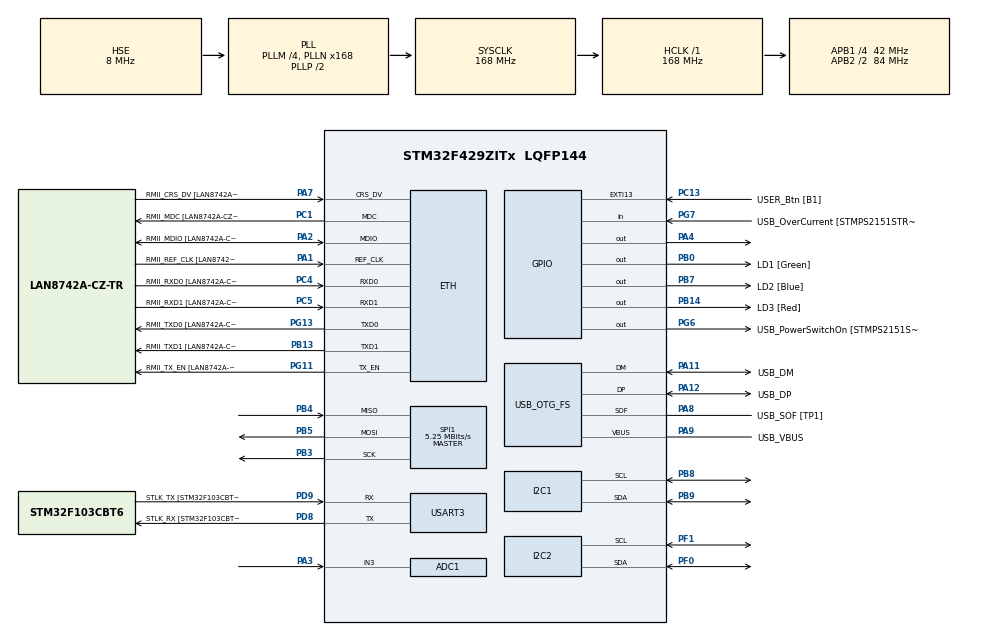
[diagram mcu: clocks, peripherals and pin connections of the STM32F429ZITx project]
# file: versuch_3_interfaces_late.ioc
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ADC1.Channel-0\#ChannelRegularConversion=ADC_CHANNEL_3
ADC1.NbrOfConversionFlag=1
ADC1.Rank-0\#ChannelRegularConversion=1
ADC1.SamplingTime-0\#ChannelRegularConversion=ADC_SAMPLETIME_3CYCLES
ADC1.master=1
ETH.MediaInterface=HAL_ETH_RMII_MODE
ETH.PHY_Name=LAN8742A_PHY_ADDRESS
ETH.PHY_Value=0
ETH.PhyAddress=0
Mcu.Family=STM32F4
Mcu.Name=STM32F429ZITx
Mcu.Package=LQFP144
NVIC.PriorityGroup=NVIC_PRIORITYGROUP_4
PA1.GPIO_Label=RMII_REF_CLK [LAN8742A-CZ-TR_REFCLK0]
PA1.Mode=RMII
PA1.Signal=ETH_REF_CLK
PA10.GPIO_Label=USB_ID
PA10.Signal=USB_OTG_FS_ID
PA11.GPIO_Label=USB_DM
PA11.Mode=Device_Only
PA11.Signal=USB_OTG_FS_DM
PA12.GPIO_Label=USB_DP
PA12.Mode=Device_Only
PA12.Signal=USB_OTG_FS_DP
PA13.GPIO_Label=TMS
PA13.Mode=Serial_Wire
PA13.Signal=SYS_JTMS-SWDIO
PA14.GPIO_Label=TCK
PA14.Mode=Serial_Wire
PA14.Signal=SYS_JTCK-SWCLK
PA2.GPIO_Label=RMII_MDIO [LAN8742A-CZ-TR_MDIO]
PA2.Mode=RMII
PA2.Signal=ETH_MDIO
PA3.Signal=ADCx_IN3
PA4.PinState=GPIO_PIN_SET
PA4.Signal=GPIO_Output
PA7.GPIO_Label=RMII_CRS_DV [LAN8742A-CZ-TR_CRS_DV]
PA7.Mode=RMII
PA7.Signal=ETH_CRS_DV
PA8.GPIO_Label=USB_SOF [TP1]
PA8.Mode=Activate_SOF_FS
PA8.Signal=USB_OTG_FS_SOF
PA9.GPIO_Label=USB_VBUS
PA9.Mode=Activate_VBUS
PA9.Signal=USB_OTG_FS_VBUS
PB0.GPIO_Label=LD1 [Green]
PB0.Signal=GPIO_Output
PB13.GPIO_Label=RMII_TXD1 [LAN8742A-CZ-TR_TXD1]
PB13.Mode=RMII
PB13.Signal=ETH_TXD1
PB14.GPIO_Label=LD3 [Red]
PB14.Signal=GPIO_Output
PB3.Mode=Full_Duplex_Master
PB3.Signal=SPI1_SCK
PB4.Mode=Full_Duplex_Master
PB4.Signal=SPI1_MISO
PB5.Mode=Full_Duplex_Master
PB5.Signal=SPI1_MOSI
PB7.GPIO_Label=LD2 [Blue]
PB7.Signal=GPIO_Output
PB8.Mode=I2C
PB8.Signal=I2C1_SCL
PB9.Mode=I2C
PB9.Signal=I2C1_SDA
PC1.GPIO_Label=RMII_MDC [LAN8742A-CZ-TR_MDC]
PC1.Mode=RMII
PC1.Signal=ETH_MDC
PC13.GPIO_Label=USER_Btn [B1]
PC13.Signal=GPXTI13
PC14/OSC32_IN.Mode=LSE-External-Oscillator
PC14/OSC32_IN.Signal=RCC_OSC32_IN
PC15/OSC32_OUT.Mode=LSE-External-Oscillator
PC15/OSC32_OUT.Signal=RCC_OSC32_OUT
PC4.GPIO_Label=RMII_RXD0 [LAN8742A-CZ-TR_RXD0]
PC4.Mode=RMII
PC4.Signal=ETH_RXD0
PC5.GPIO_Label=RMII_RXD1 [LAN8742A-CZ-TR_RXD1]
PC5.Mode=RMII
PC5.Signal=ETH_RXD1
PD8.GPIO_Label=STLK_RX [STM32F103CBT6_PA3]
PD8.Mode=Asynchronous
PD8.Signal=USART3_TX
PD9.GPIO_Label=STLK_TX [STM32F103CBT6_PA2]
PD9.Mode=Asynchronous
PD9.Signal=USART3_RX
PF0.Mode=I2C
PF0.Signal=I2C2_SDA
PF1.Mode=I2C
PF1.Signal=I2C2_SCL
PG11.GPIO_Label=RMII_TX_EN [LAN8742A-CZ-TR_TXEN]
PG11.Mode=RMII
PG11.Signal=ETH_TX_EN
PG13.GPIO_Label=RMII_TXD0 [LAN8742A-CZ-TR_TXD0]
PG13.Mode=RMII
PG13.Signal=ETH_TXD0
PG6.GPIO_Label=USB_PowerSwitchOn [STMPS2151STR_EN]
PG6.Signal=GPIO_Output
PG7.GPIO_Label=USB_OverCurrent [STMPS2151STR_FAULT]
PG7.Signal=GPIO_Input
PH0/OSC_IN.GPIO_Label=MCO [STM32F103CBT6_PA8]
PH0/OSC_IN.Mode=HSE-External-Clock-Source
PH0/OSC_IN.Signal=RCC_OSC_IN
PH1/OSC_OUT.Mode=HSE-External-Clock-Source
PH1/OSC_OUT.Signal=RCC_OSC_OUT
ProjectManager.HeapSize=0x200
ProjectManager.StackSize=0x400
ProjectManager.TargetToolchain=STM32CubeIDE
RCC.48MHZClocksFreq_Value=48000000
RCC.AHBFreq_Value=168000000
RCC.APB1CLKDivider=RCC_HCLK_DIV4
RCC.APB1Freq_Value=42000000
RCC.APB1TimFreq_Value=84000000
RCC.APB2CLKDivider=RCC_HCLK_DIV2
RCC.APB2Freq_Value=84000000
RCC.APB2TimCLKDivider=2
RCC.APB2TimFreq_Value=168000000
RCC.CortexFreq_Value=168000000
RCC.HCLKFreq_Value=168000000
RCC.HSE_VALUE=8000000
RCC.HSI_VALUE=16000000
RCC.PLLM=4
RCC.PLLMUL=RCC_PLL_MUL9
RCC.PLLN=168
RCC.PLLQ=7
RCC.PRESCALERUSB=RCC_USBCLKSOURCE_PLL_DIV1_5
RCC.SYSCLKFreq_VALUE=168000000
RCC.SYSCLKSource=RCC_SYSCLKSOURCE_PLLCLK
RCC.SYSCLKSourceVirtual=RCC_SYSCLKSOURCE_PLLCLK
RCC.USBFreq_Value=48000000
RCC.VCOOutputFreq_Value=336000000
SH.ADCx_IN3.0=ADC1_IN3,IN3
SPI1.BaudRatePrescaler=SPI_BAUDRATEPRESCALER_16
SPI1.CLKPolarity=SPI_POLARITY_LOW
SPI1.CalculateBaudRate=5.25 MBits/s
SPI1.Direction=SPI_DIRECTION_2LINES
SPI1.Mode=SPI_MODE_MASTER
SPI1.VirtualType=VM_MASTER
USART3.VirtualMode=VM_ASYNC
USB_OTG_FS.VirtualMode=Device_Only
board=NUCLEO-F429ZI

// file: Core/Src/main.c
/* USER CODE BEGIN Header */
/**
  ******************************************************************************
  * @file           : main.c
  * @brief          : Main program body
  ******************************************************************************
  * @attention
  *
  * Copyright (c) 2026 STMicroelectronics.
  * All rights reserved.
  *
  * This software is licensed under terms that can be found in the LICENSE file
  * in the root directory of this software component.
  * If no LICENSE file comes with this software, it is provided AS-IS.
  *
  ******************************************************************************
  */
/* USER CODE END Header */
#include "main.h"
#include "string.h"

/* USER CODE BEGIN Includes */
#include "stdio.h"
#include "lcd_and_bmp280/lcd/lcd.h"
#include "lcd_and_bmp280/BMP280/bmp280.h"
/* USER CODE END Includes */

ETH_TxPacketConfig TxConfig;
ETH_DMADescTypeDef  DMARxDscrTab[ETH_RX_DESC_CNT]; /* Ethernet Rx DMA Descriptors */
ETH_DMADescTypeDef  DMATxDscrTab[ETH_TX_DESC_CNT]; /* Ethernet Tx DMA Descriptors */

ADC_HandleTypeDef hadc1;

ETH_HandleTypeDef heth;

I2C_HandleTypeDef hi2c1;
I2C_HandleTypeDef hi2c2;

SPI_HandleTypeDef hspi1;

UART_HandleTypeDef huart3;

PCD_HandleTypeDef hpcd_USB_OTG_FS;

void SystemClock_Config(void);
static void MX_GPIO_Init(void);
static void MX_ADC1_Init(void);
static void MX_ETH_Init(void);
static void MX_USART3_UART_Init(void);
static void MX_USB_OTG_FS_PCD_Init(void);
static void MX_I2C1_Init(void);
static void MX_I2C2_Init(void);
static void MX_SPI1_Init(void);

int main(void)
{

  /* USER CODE BEGIN 1 */
	uint32_t value;
	uint8_t buf[64];
	char msg[64];
	char msgTemp[64];
	char msgPress[64];
	char msgHumid[64];
	float temp;
	float press;
	float humid;

  /* USER CODE END 1 */

  /* MCU Configuration--------------------------------------------------------*/

  /* Reset of all peripherals, Initializes the Flash interface and the Systick. */
  HAL_Init();

  /* Configure the system clock */
  SystemClock_Config();

  /* Initialize all configured peripherals */
  MX_GPIO_Init();
  MX_ADC1_Init();
  MX_ETH_Init();
  MX_USART3_UART_Init();
  MX_USB_OTG_FS_PCD_Init();
  MX_I2C1_Init();
  MX_I2C2_Init();
  MX_SPI1_Init();
  /* USER CODE BEGIN 2 */

  //Initialize lcd
  LCD_HandleTypeDef my_lcd;
  my_lcd.i2c = &hi2c2;
  my_lcd.i2c_addr = LCD_DEFAULT_ADDR;
  my_lcd.backlight_enable = true;

  //Initialize bmp
  BMP280_HandleTypedef my_bmp;
  bmp280_init_default_params(&my_bmp.params);
  my_bmp.spi = &hspi1;
  bmp280_init(&my_bmp, &my_bmp.params);

  //Reset Led
  HAL_GPIO_WritePin(LD3_GPIO_Port, LD3_Pin, GPIO_PIN_RESET);
  HAL_Delay(1000);

  //Start lcd test
  if (LCD_Begin(&my_lcd) == HAL_OK)
      {
	  	  LCD_Clear(&my_lcd);
	      LCD_SetCursor(&my_lcd, 0, 0);
	      LCD_Print(&my_lcd, "helloooo!");

      }
  else HAL_GPIO_WritePin(LD3_GPIO_Port, LD3_Pin, GPIO_PIN_SET);
  /* USER CODE END 2 */

  /* Infinite loop */
  /* USER CODE BEGIN WHILE */
  while (1)
  {
	  //Set GPIO PIN high
	  	HAL_GPIO_WritePin(GPIOA, GPIO_PIN_10, GPIO_PIN_SET);

	  	//Get ADC Value
	  	HAL_ADC_Start(&hadc1);
	  	HAL_ADC_PollForConversion(&hadc1, HAL_MAX_DELAY);
	  	value = HAL_ADC_GetValue(&hadc1);

	  	//Read Temperature and Press value
	  	bmp280_read_float(&my_bmp, &temp, &press, &humid);
	  	//Set GPIO PIN low
	  	HAL_GPIO_WritePin(GPIOA, GPIO_PIN_10, GPIO_PIN_RESET);

	  	//Convert to String and print
	  	sprintf(msg, "Potentialmeter: %lu\r\n", value);
	  	HAL_UART_Transmit(&huart3, (uint8_t*)msg, strlen(msg), HAL_MAX_DELAY);
	  	sprintf(msg, "Value: %lu", value);
	  	int temp_whole = (int)temp;
	  	int temp_frac  = (int)((temp - temp_whole) * 100);
	  	if (temp_frac < 0) temp_frac = -temp_frac; // Handle negative temperatures

	  	// Format concisely to fit within 16 characters per line:
	  	sprintf(msgTemp, "Temp: %d.%02d \xDF""C", temp_whole, temp_frac); // e.g., "Temp: 23.45 °C" (14 chars)
	  	sprintf(msgPress, "Pres: %ld Pa", (long)press);
	  	HAL_UART_Transmit(&huart3, (uint8_t*)msgTemp, strlen(msgTemp), HAL_MAX_DELAY);
	  	HAL_UART_Transmit(&huart3, (uint8_t*)msgPress, strlen(msgPress), HAL_MAX_DELAY);
	  	LCD_Clear(&my_lcd);
	  	LCD_SetCursor(&my_lcd, 0, 0);
	  	LCD_Print(&my_lcd, msgTemp);
	  	LCD_SetCursor(&my_lcd, 1, 0);
	  	LCD_Print(&my_lcd, msgPress);
	  	if(value > 2047)
	  	{
	  		HAL_GPIO_WritePin(LD1_GPIO_Port, LD1_Pin, GPIO_PIN_SET);
//	  		LCD_Clear(&my_lcd);
//	  		LCD_SetCursor(&my_lcd, 0, 0);
//	  		LCD_Print(&my_lcd, "Hey that's");
//	  		LCD_SetCursor(&my_lcd, 1, 0);
//	  		LCD_Print(&my_lcd, "too much!");
//	  		HAL_Delay(500);
//	  		for(int i = 5; i > 0; i--){
//	  			sprintf(trash, "in %d", i);
//	  			LCD_Clear(&my_lcd);
//	  			LCD_SetCursor(&my_lcd, 0, 0);
//	  			LCD_Print(&my_lcd, "Self detonate");
//	  			LCD_SetCursor(&my_lcd, 1, 0);
//	  			LCD_Print(&my_lcd, trash);
//	  			HAL_Delay(500);
//	  		}

	  	}
	  	else HAL_GPIO_WritePin(LD1_GPIO_Port, LD1_Pin, GPIO_PIN_RESET);

	  	HAL_Delay(1000);
    /* USER CODE END WHILE */

  }
}

void SystemClock_Config(void)
{
  RCC_OscInitTypeDef RCC_OscInitStruct = {0};
  RCC_ClkInitTypeDef RCC_ClkInitStruct = {0};

  /** Configure the main internal regulator output voltage
  */
  __HAL_RCC_PWR_CLK_ENABLE();
  __HAL_PWR_VOLTAGESCALING_CONFIG(PWR_REGULATOR_VOLTAGE_SCALE1);

  /** Initializes the RCC Oscillators according to the specified parameters
  * in the RCC_OscInitTypeDef structure.
  */
  RCC_OscInitStruct.OscillatorType = RCC_OSCILLATORTYPE_HSE;
  RCC_OscInitStruct.HSEState = RCC_HSE_BYPASS;
  RCC_OscInitStruct.PLL.PLLState = RCC_PLL_ON;
  RCC_OscInitStruct.PLL.PLLSource = RCC_PLLSOURCE_HSE;
  RCC_OscInitStruct.PLL.PLLM = 4;
  RCC_OscInitStruct.PLL.PLLN = 168;
  RCC_OscInitStruct.PLL.PLLP = RCC_PLLP_DIV2;
  RCC_OscInitStruct.PLL.PLLQ = 7;
  if (HAL_RCC_OscConfig(&RCC_OscInitStruct) != HAL_OK)
  {
    Error_Handler();
  }

  /** Initializes the CPU, AHB and APB buses clocks
  */
  RCC_ClkInitStruct.ClockType = RCC_CLOCKTYPE_HCLK|RCC_CLOCKTYPE_SYSCLK
                              |RCC_CLOCKTYPE_PCLK1|RCC_CLOCKTYPE_PCLK2;
  RCC_ClkInitStruct.SYSCLKSource = RCC_SYSCLKSOURCE_PLLCLK;
  RCC_ClkInitStruct.AHBCLKDivider = RCC_SYSCLK_DIV1;
  RCC_ClkInitStruct.APB1CLKDivider = RCC_HCLK_DIV4;
  RCC_ClkInitStruct.APB2CLKDivider = RCC_HCLK_DIV2;

  if (HAL_RCC_ClockConfig(&RCC_ClkInitStruct, FLASH_LATENCY_5) != HAL_OK)
  {
    Error_Handler();
  }
}

static void MX_ADC1_Init(void)
{

  ADC_ChannelConfTypeDef sConfig = {0};

  /** Configure the global features of the ADC (Clock, Resolution, Data Alignment and number of conversion)
  */
  hadc1.Instance = ADC1;
  hadc1.Init.ClockPrescaler = ADC_CLOCK_SYNC_PCLK_DIV4;
  hadc1.Init.Resolution = ADC_RESOLUTION_12B;
  hadc1.Init.ScanConvMode = DISABLE;
  hadc1.Init.ContinuousConvMode = DISABLE;
  hadc1.Init.DiscontinuousConvMode = DISABLE;
  hadc1.Init.ExternalTrigConvEdge = ADC_EXTERNALTRIGCONVEDGE_NONE;
  hadc1.Init.ExternalTrigConv = ADC_SOFTWARE_START;
  hadc1.Init.DataAlign = ADC_DATAALIGN_RIGHT;
  hadc1.Init.NbrOfConversion = 1;
  hadc1.Init.DMAContinuousRequests = DISABLE;
  hadc1.Init.EOCSelection = ADC_EOC_SINGLE_CONV;
  if (HAL_ADC_Init(&hadc1) != HAL_OK)
  {
    Error_Handler();
  }

  /** Configure for the selected ADC regular channel its corresponding rank in the sequencer and its sample time.
  */
  sConfig.Channel = ADC_CHANNEL_3;
  sConfig.Rank = 1;
  sConfig.SamplingTime = ADC_SAMPLETIME_3CYCLES;
  if (HAL_ADC_ConfigChannel(&hadc1, &sConfig) != HAL_OK)
  {
    Error_Handler();
  }

}

static void MX_ETH_Init(void)
{

   static uint8_t MACAddr[6];

  heth.Instance = ETH;
  MACAddr[0] = 0x00;
  MACAddr[1] = 0x80;
  MACAddr[2] = 0xE1;
  MACAddr[3] = 0x00;
  MACAddr[4] = 0x00;
  MACAddr[5] = 0x00;
  heth.Init.MACAddr = &MACAddr[0];
  heth.Init.MediaInterface = HAL_ETH_RMII_MODE;
  heth.Init.TxDesc = DMATxDscrTab;
  heth.Init.RxDesc = DMARxDscrTab;
  heth.Init.RxBuffLen = 1524;

  if (HAL_ETH_Init(&heth) != HAL_OK)
  {
    Error_Handler();
  }

  memset(&TxConfig, 0 , sizeof(ETH_TxPacketConfig));
  TxConfig.Attributes = ETH_TX_PACKETS_FEATURES_CSUM | ETH_TX_PACKETS_FEATURES_CRCPAD;
  TxConfig.ChecksumCtrl = ETH_CHECKSUM_IPHDR_PAYLOAD_INSERT_PHDR_CALC;
  TxConfig.CRCPadCtrl = ETH_CRC_PAD_INSERT;

}

static void MX_I2C1_Init(void)
{

  hi2c1.Instance = I2C1;
  hi2c1.Init.ClockSpeed = 100000;
  hi2c1.Init.DutyCycle = I2C_DUTYCYCLE_2;
  hi2c1.Init.OwnAddress1 = 0;
  hi2c1.Init.AddressingMode = I2C_ADDRESSINGMODE_7BIT;
  hi2c1.Init.DualAddressMode = I2C_DUALADDRESS_DISABLE;
  hi2c1.Init.OwnAddress2 = 0;
  hi2c1.Init.GeneralCallMode = I2C_GENERALCALL_DISABLE;
  hi2c1.Init.NoStretchMode = I2C_NOSTRETCH_DISABLE;
  if (HAL_I2C_Init(&hi2c1) != HAL_OK)
  {
    Error_Handler();
  }

  /** Configure Analogue filter
  */
  if (HAL_I2CEx_ConfigAnalogFilter(&hi2c1, I2C_ANALOGFILTER_ENABLE) != HAL_OK)
  {
    Error_Handler();
  }

  /** Configure Digital filter
  */
  if (HAL_I2CEx_ConfigDigitalFilter(&hi2c1, 0) != HAL_OK)
  {
    Error_Handler();
  }

}

static void MX_I2C2_Init(void)
{

  hi2c2.Instance = I2C2;
  hi2c2.Init.ClockSpeed = 100000;
  hi2c2.Init.DutyCycle = I2C_DUTYCYCLE_2;
  hi2c2.Init.OwnAddress1 = 0;
  hi2c2.Init.AddressingMode = I2C_ADDRESSINGMODE_7BIT;
  hi2c2.Init.DualAddressMode = I2C_DUALADDRESS_DISABLE;
  hi2c2.Init.OwnAddress2 = 0;
  hi2c2.Init.GeneralCallMode = I2C_GENERALCALL_DISABLE;
  hi2c2.Init.NoStretchMode = I2C_NOSTRETCH_DISABLE;
  if (HAL_I2C_Init(&hi2c2) != HAL_OK)
  {
    Error_Handler();
  }

  /** Configure Analogue filter
  */
  if (HAL_I2CEx_ConfigAnalogFilter(&hi2c2, I2C_ANALOGFILTER_ENABLE) != HAL_OK)
  {
    Error_Handler();
  }

  /** Configure Digital filter
  */
  if (HAL_I2CEx_ConfigDigitalFilter(&hi2c2, 0) != HAL_OK)
  {
    Error_Handler();
  }

}

static void MX_SPI1_Init(void)
{

  /* SPI1 parameter configuration*/
  hspi1.Instance = SPI1;
  hspi1.Init.Mode = SPI_MODE_MASTER;
  hspi1.Init.Direction = SPI_DIRECTION_2LINES;
  hspi1.Init.DataSize = SPI_DATASIZE_8BIT;
  hspi1.Init.CLKPolarity = SPI_POLARITY_LOW;
  hspi1.Init.CLKPhase = SPI_PHASE_1EDGE;
  hspi1.Init.NSS = SPI_NSS_SOFT;
  hspi1.Init.BaudRatePrescaler = SPI_BAUDRATEPRESCALER_16;
  hspi1.Init.FirstBit = SPI_FIRSTBIT_MSB;
  hspi1.Init.TIMode = SPI_TIMODE_DISABLE;
  hspi1.Init.CRCCalculation = SPI_CRCCALCULATION_DISABLE;
  hspi1.Init.CRCPolynomial = 10;
  if (HAL_SPI_Init(&hspi1) != HAL_OK)
  {
    Error_Handler();
  }

}

static void MX_USART3_UART_Init(void)
{

  huart3.Instance = USART3;
  huart3.Init.BaudRate = 115200;
  huart3.Init.WordLength = UART_WORDLENGTH_8B;
  huart3.Init.StopBits = UART_STOPBITS_1;
  huart3.Init.Parity = UART_PARITY_NONE;
  huart3.Init.Mode = UART_MODE_TX_RX;
  huart3.Init.HwFlowCtl = UART_HWCONTROL_NONE;
  huart3.Init.OverSampling = UART_OVERSAMPLING_16;
  if (HAL_UART_Init(&huart3) != HAL_OK)
  {
    Error_Handler();
  }

}

static void MX_USB_OTG_FS_PCD_Init(void)
{

  hpcd_USB_OTG_FS.Instance = USB_OTG_FS;
  hpcd_USB_OTG_FS.Init.dev_endpoints = 4;
  hpcd_USB_OTG_FS.Init.speed = PCD_SPEED_FULL;
  hpcd_USB_OTG_FS.Init.dma_enable = DISABLE;
  hpcd_USB_OTG_FS.Init.phy_itface = PCD_PHY_EMBEDDED;
  hpcd_USB_OTG_FS.Init.Sof_enable = ENABLE;
  hpcd_USB_OTG_FS.Init.low_power_enable = DISABLE;
  hpcd_USB_OTG_FS.Init.lpm_enable = DISABLE;
  hpcd_USB_OTG_FS.Init.vbus_sensing_enable = ENABLE;
  hpcd_USB_OTG_FS.Init.use_dedicated_ep1 = DISABLE;
  if (HAL_PCD_Init(&hpcd_USB_OTG_FS) != HAL_OK)
  {
    Error_Handler();
  }

}

static void MX_GPIO_Init(void)
{
  GPIO_InitTypeDef GPIO_InitStruct = {0};

  /* GPIO Ports Clock Enable */
  __HAL_RCC_GPIOC_CLK_ENABLE();
  __HAL_RCC_GPIOF_CLK_ENABLE();
  __HAL_RCC_GPIOH_CLK_ENABLE();
  __HAL_RCC_GPIOA_CLK_ENABLE();
  __HAL_RCC_GPIOB_CLK_ENABLE();
  __HAL_RCC_GPIOD_CLK_ENABLE();
  __HAL_RCC_GPIOG_CLK_ENABLE();

  /*Configure GPIO pin Output Level */
  HAL_GPIO_WritePin(GPIOA, GPIO_PIN_4, GPIO_PIN_SET);

  /*Configure GPIO pin Output Level */
  HAL_GPIO_WritePin(GPIOB, LD1_Pin|LD3_Pin|LD2_Pin, GPIO_PIN_RESET);

  /*Configure GPIO pin Output Level */
  HAL_GPIO_WritePin(USB_PowerSwitchOn_GPIO_Port, USB_PowerSwitchOn_Pin, GPIO_PIN_RESET);

  /*Configure GPIO pin : USER_Btn_Pin */
  GPIO_InitStruct.Pin = USER_Btn_Pin;
  GPIO_InitStruct.Mode = GPIO_MODE_IT_RISING;
  GPIO_InitStruct.Pull = GPIO_NOPULL;
  HAL_GPIO_Init(USER_Btn_GPIO_Port, &GPIO_InitStruct);

  /*Configure GPIO pin : PA4 */
  GPIO_InitStruct.Pin = GPIO_PIN_4;
  GPIO_InitStruct.Mode = GPIO_MODE_OUTPUT_PP;
  GPIO_InitStruct.Pull = GPIO_NOPULL;
  GPIO_InitStruct.Speed = GPIO_SPEED_FREQ_LOW;
  HAL_GPIO_Init(GPIOA, &GPIO_InitStruct);

  /*Configure GPIO pins : LD1_Pin LD3_Pin LD2_Pin */
  GPIO_InitStruct.Pin = LD1_Pin|LD3_Pin|LD2_Pin;
  GPIO_InitStruct.Mode = GPIO_MODE_OUTPUT_PP;
  GPIO_InitStruct.Pull = GPIO_NOPULL;
  GPIO_InitStruct.Speed = GPIO_SPEED_FREQ_LOW;
  HAL_GPIO_Init(GPIOB, &GPIO_InitStruct);

  /*Configure GPIO pin : USB_PowerSwitchOn_Pin */
  GPIO_InitStruct.Pin = USB_PowerSwitchOn_Pin;
  GPIO_InitStruct.Mode = GPIO_MODE_OUTPUT_PP;
  GPIO_InitStruct.Pull = GPIO_NOPULL;
  GPIO_InitStruct.Speed = GPIO_SPEED_FREQ_LOW;
  HAL_GPIO_Init(USB_PowerSwitchOn_GPIO_Port, &GPIO_InitStruct);

  /*Configure GPIO pin : USB_OverCurrent_Pin */
  GPIO_InitStruct.Pin = USB_OverCurrent_Pin;
  GPIO_InitStruct.Mode = GPIO_MODE_INPUT;
  GPIO_InitStruct.Pull = GPIO_NOPULL;
  HAL_GPIO_Init(USB_OverCurrent_GPIO_Port, &GPIO_InitStruct);

}

void Error_Handler(void)
{
  __disable_irq();
  while (1)
  {
  }
}
